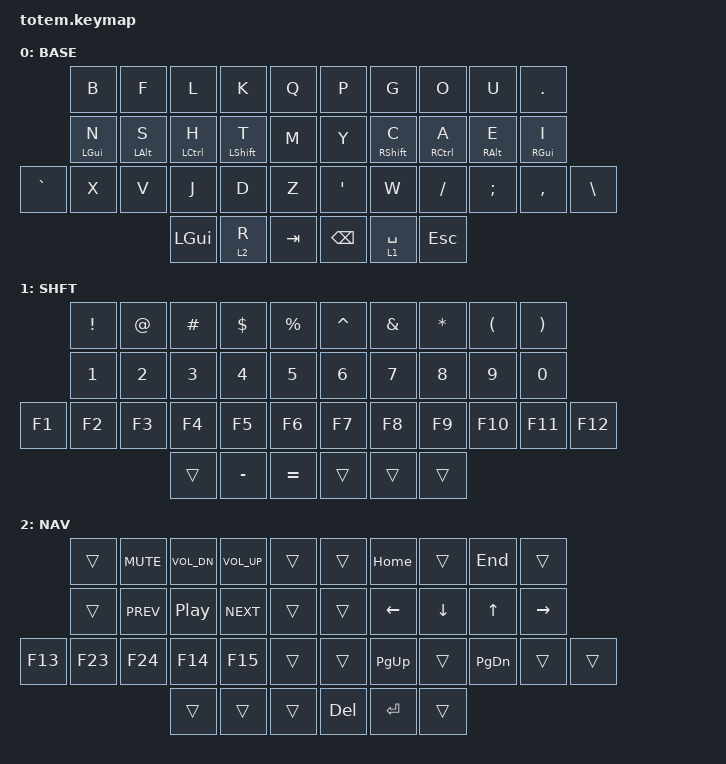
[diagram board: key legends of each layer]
//
//                                                        ▀▀▀▀▀     ▀▀▀▀▀          ▀▀█▀▀
//                                                        ▄▀▀▀▄  ▄  ▄▀▀▀▄  ▄  ▄▀▀▀▄  █  ▄▀▀▀▄
//                                                        █   █  █  █   █  █  █   █  █  █   █
//                                                         ▀▀▀   █   ▀▀▀   █   ▀▀▀   ▀   ▀▀▀
//                                                               █      ▄▄▄█▄▄▄    █   █  
//                                                               ▀      █  █  █     █▄█
//                                                             ▀▀▀▀▀    █  █  █      ▀
//                                                                      ▀  ▀  ▀
//
// ▄▄▄▄▄▄▄▄▄▄▄▄▄▄▄▄▄▄▄▄▄▄▄▄▄▄▄▄▄▄▄▄▄▄▄▄▄▄▄▄▄▄▄▄▄▄▄▄▄▄▄▄▄▄▄▄▄▄▄▄▄▄▄▄▄▄▄▄▄▄▄▄▄▄▄▄▄▄▄▄▄▄▄▄▄▄▄▄▄▄▄▄▄▄▄▄▄▄▄▄▄▄▄▄▄▄▄▄▄▄▄▄▄▄▄▄▄▄▄▄▄▄▄▄▄▄▄▄▄▄▄▄▄▄▄▄▄▄▄▄▄▄▄▄▄▄▄▄▄

#include <behaviors.dtsi>
#include <dt-bindings/zmk/keys.h>

#define BASE 0
#define NAV  1
#define SYM  2
#define ADJ  3

/ {
    behaviors {
        hml: home_row_mod_left {
            compatible = "zmk,behavior-hold-tap";
            #binding-cells = <2>;
            flavor = "balanced";
            require-prior-idle-ms = <150>;
            tapping-term-ms = <280>;
            quick-tap-ms = <175>;
            bindings = <&kp>, <&kp>;

            hold-trigger-key-positions = <32 33 34 35 36 37 26 5 6 7 8 9 15 16 17 18 28 5 6 8 9 15 16 17 18 19 26 27 28 29 30 31 36 37>;
            hold-trigger-on-release;
        };

        hmr: home_row_mod_right {
            compatible = "zmk,behavior-hold-tap";
            #binding-cells = <2>;
            flavor = "balanced";
            require-prior-idle-ms = <150>;
            tapping-term-ms = <280>;
            quick-tap-ms = <175>;
            bindings = <&kp>, <&kp>;

            hold-trigger-key-positions = <0 1 2 3 4 10 11 12 13 14 20 21 22 23 24 25 32 33 34 35 36 37>;
            hold-trigger-on-release;
        };
    };

    combos { compatible = "zmk,combos"; };

    keymap {
        compatible = "zmk,keymap";

        // ▄▄▄▄▄▄▄▄▄▄▄▄▄▄▄▄▄▄▄▄▄▄▄▄▄▄▄▄▄▄▄▄▄▄▄▄▄▄▄▄▄▄▄▄▄▄▄▄▄▄▄▄▄▄▄▄▄▄▄▄▄▄▄▄▄▄▄▄▄▄▄▄▄▄▄▄▄▄▄▄▄▄▄▄▄▄▄▄▄▄▄▄▄▄▄▄▄▄▄▄▄▄▄▄▄▄▄▄▄▄▄▄▄▄▄▄▄▄▄▄▄▄▄▄▄▄▄▄▄▄▄▄▄▄▄▄▄▄▄▄▄▄▄▄▄▄▄▄▄

        base_layer {
            // ┏━━━━━━━━━━━━━━━━━━━━━━━━━━━━━━━━━━━━━━━┓

            display-name = "BASE";

            // ┗━━━━━━━━━━━━━━━━━━━━━━━━━━━━━━━━━━━━━━━┛
            //             ┏━━━━━━━━━━━┳━━━━━━━━━━━┳━━━━━━━━━━━┳━━━━━━━━━━━┳━━━━━━━━━━━┓   ┏━━━━━━━━━━━┳━━━━━━━━━━━┳━━━━━━━━━━━┳━━━━━━━━━━━┳━━━━━━━━━━━┓
            //             ┃     Q     ┃     W     ┃     F     ┃     P     ┃     G     ┃   ┃     J     ┃     L     ┃     U     ┃     Y     ┃     ;     ┃
            //             ┣━━━━━━━━━━━╋━━━━━━━━━━━╋━━━━━━━━━━━╋━━━━━━━━━━━╋━━━━━━━━━━━┫   ┣━━━━━━━━━━━╋━━━━━━━━━━━╋━━━━━━━━━━━╋━━━━━━━━━━━╋━━━━━━━━━━━┫
            //             ┃     A     ┃     R     ┃     S     ┃     T     ┃     D     ┃   ┃     H     ┃     N     ┃     E     ┃     I     ┃     O     ┃
            // ┏━━━━━━━━━━━╋━━━━━━━━━━━╋━━━━━━━━━━━╋━━━━━━━━━━━╋━━━━━━━━━━━╋━━━━━━━━━━━┫   ┣━━━━━━━━━━━╋━━━━━━━━━━━╋━━━━━━━━━━━╋━━━━━━━━━━━╋━━━━━━━━━━━╋━━━━━━━━━━━┓
            // ┃           ┃     Z     ┃     X     ┃     C     ┃     V     ┃     B     ┃   ┃     K     ┃     M     ┃     ,     ┃     .     ┃     /     ┃           ┃
            // ┗━━━━━━━━━━━┻━━━━━━━━━━━┻━━━━━━━━━━━╋━━━━━━━━━━━╋━━━━━━━━━━━╋━━━━━━━━━━━┫   ┣━━━━━━━━━━━╋━━━━━━━━━━━╋━━━━━━━━━━━╋━━━━━━━━━━━┻━━━━━━━━━━━┻━━━━━━━━━━━┛
            //                                     ┃           ┃    TAB    ┃    SPC    ┃   ┃   ENTER   ┃   BSPC    ┃           ┃
            //                                     ┗━━━━━━━━━━━┻━━━━━━━━━━━┻━━━━━━━━━━━┛   ┗━━━━━━━━━━━┻━━━━━━━━━━━┻━━━━━━━━━━━┛

            bindings = <
           &kp B        &kp F            &kp L         &kp K         &kp Q      &kp P     &kp G          &kp O         &kp U        &kp PERIOD
           &hml LGUI N  &hml LEFT_ALT S  &hml LCTRL H  &hml LSHFT T  &kp M      &kp Y     &hmr RSHIFT C  &hmr RCTRL A  &hmr RALT E  &hmr RGUI I
&kp GRAVE  &kp X        &kp V            &kp J         &kp D         &kp Z      &kp SQT   &kp W          &kp SLASH     &kp SEMI     &kp COMMA    &kp BSLH
                                         &kp LGUI      &lt 2 R       &kp TAB    &kp BSPC  &lt 1 SPACE    &kp ESCAPE
            >;
        };

        // ▄▄▄▄▄▄▄▄▄▄▄▄▄▄▄▄▄▄▄▄▄▄▄▄▄▄▄▄▄▄▄▄▄▄▄▄▄▄▄▄▄▄▄▄▄▄▄▄▄▄▄▄▄▄▄▄▄▄▄▄▄▄▄▄▄▄▄▄▄▄▄▄▄▄▄▄▄▄▄▄▄▄▄▄▄▄▄▄▄▄▄▄▄▄▄▄▄▄▄▄▄▄▄▄▄▄▄▄▄▄▄▄▄▄▄▄▄▄▄▄▄▄▄▄▄▄▄▄▄▄▄▄▄▄▄▄▄▄▄▄▄▄▄▄▄▄▄▄▄

        shift_layer {
            // ┏━━━━━━━━━━━━━━━━━━━━━━━━━━━━━━━━━━━━━━━┓

            display-name = "SHFT";

            // ┗━━━━━━━━━━━━━━━━━━━━━━━━━━━━━━━━━━━━━━━┛
            //             ┏━━━━━━━━━━━┳━━━━━━━━━━━┳━━━━━━━━━━━┳━━━━━━━━━━━┳━━━━━━━━━━━┓   ┏━━━━━━━━━━━┳━━━━━━━━━━━┳━━━━━━━━━━━┳━━━━━━━━━━━┳━━━━━━━━━━━┓
            //             ┃           ┃           ┃     UP    ┃           ┃     {     ┃   ┃     }     ┃     7     ┃     8     ┃     9     ┃     +     ┃
            //             ┣━━━━━━━━━━━╋━━━━━━━━━━━╋━━━━━━━━━━━╋━━━━━━━━━━━╋━━━━━━━━━━━┫   ┣━━━━━━━━━━━╋━━━━━━━━━━━╋━━━━━━━━━━━╋━━━━━━━━━━━╋━━━━━━━━━━━┫
            //             ┃   SHIFT   ┃   LEFT    ┃    DOWN   ┃   RIGHT   ┃     [     ┃   ┃     ]     ┃     4     ┃     5     ┃     6     ┃     -     ┃
            // ┏━━━━━━━━━━━╋━━━━━━━━━━━╋━━━━━━━━━━━╋━━━━━━━━━━━╋━━━━━━━━━━━╋━━━━━━━━━━━┫   ┣━━━━━━━━━━━╋━━━━━━━━━━━╋━━━━━━━━━━━╋━━━━━━━━━━━╋━━━━━━━━━━━╋━━━━━━━━━━━┓
            // ┃           ┃           ┃   P UP    ┃  C LOCK   ┃  P DOWN   ┃     (     ┃   ┃     )     ┃     1     ┃     2     ┃     3     ┃     *     ┃           ┃
            // ┗━━━━━━━━━━━┻━━━━━━━━━━━┻━━━━━━━━━━━╋━━━━━━━━━━━╋━━━━━━━━━━━╋━━━━━━━━━━━┫   ┣━━━━━━━━━━━╋━━━━━━━━━━━╋━━━━━━━━━━━╋━━━━━━━━━━━┻━━━━━━━━━━━┻━━━━━━━━━━━┛
            //                                     ┃           ┃    TAB    ┃    SPC    ┃   ┃    DEL    ┃     0     ┃           ┃
            //                                     ┗━━━━━━━━━━━┻━━━━━━━━━━━┻━━━━━━━━━━━┛   ┗━━━━━━━━━━━┻━━━━━━━━━━━┻━━━━━━━━━━━┛

            bindings = <
        &kp EXCL  &kp AT  &kp HASH  &kp DLLR   &kp PRCNT    &kp CARET  &kp AMPS  &kp STAR  &kp LPAR  &kp RPAR
        &kp N1    &kp N2  &kp N3    &kp N4     &kp N5       &kp N6     &kp N7    &kp N8    &kp N9    &kp N0
&kp F1  &kp F2    &kp F3  &kp F4    &kp F5     &kp F6       &kp F7     &kp F8    &kp F9    &kp F10   &kp F11   &kp F12
                          &trans    &kp MINUS  &kp EQUAL    &trans     &trans    &trans
            >;
        };

        // ▄▄▄▄▄▄▄▄▄▄▄▄▄▄▄▄▄▄▄▄▄▄▄▄▄▄▄▄▄▄▄▄▄▄▄▄▄▄▄▄▄▄▄▄▄▄▄▄▄▄▄▄▄▄▄▄▄▄▄▄▄▄▄▄▄▄▄▄▄▄▄▄▄▄▄▄▄▄▄▄▄▄▄▄▄▄▄▄▄▄▄▄▄▄▄▄▄▄▄▄▄▄▄▄▄▄▄▄▄▄▄▄▄▄▄▄▄▄▄▄▄▄▄▄▄▄▄▄▄▄▄▄▄▄▄▄▄▄▄▄▄▄▄▄▄▄▄▄▄

        nav_layer {
            // ┏━━━━━━━━━━━━━━━━━━━━━━━━━━━━━━━━━━━━━━━┓

            display-name = "NAV";

            // ┗━━━━━━━━━━━━━━━━━━━━━━━━━━━━━━━━━━━━━━━┛
            //             ┏━━━━━━━━━━━┳━━━━━━━━━━━┳━━━━━━━━━━━┳━━━━━━━━━━━┳━━━━━━━━━━━┓   ┏━━━━━━━━━━━┳━━━━━━━━━━━┳━━━━━━━━━━━┳━━━━━━━━━━━┳━━━━━━━━━━━┓
            //             ┃     !     ┃     @     ┃     #     ┃     $     ┃     %     ┃   ┃     ˆ     ┃     &     ┃     Ü     ┃     '     ┃     "     ┃
            //             ┣━━━━━━━━━━━╋━━━━━━━━━━━╋━━━━━━━━━━━╋━━━━━━━━━━━╋━━━━━━━━━━━┫   ┣━━━━━━━━━━━╋━━━━━━━━━━━╋━━━━━━━━━━━╋━━━━━━━━━━━╋━━━━━━━━━━━┫
            //             ┃     Ä     ┃           ┃    SZ     ┃           ┃           ┃   ┃   MUTE    ┃   YEN     ┃   EURO    ┃  POUND    ┃     Ö     ┃
            // ┏━━━━━━━━━━━╋━━━━━━━━━━━╋━━━━━━━━━━━╋━━━━━━━━━━━╋━━━━━━━━━━━╋━━━━━━━━━━━┫   ┣━━━━━━━━━━━╋━━━━━━━━━━━╋━━━━━━━━━━━╋━━━━━━━━━━━╋━━━━━━━━━━━╋━━━━━━━━━━━┓
            // ┃           ┃  EMAIL1   ┃  EMAIL2   ┃           ┃           ┃           ┃   ┃   VOL-    ┃   VOL+    ┃   LAST    ┃   NEXT    ┃     \     ┃           ┃
            // ┗━━━━━━━━━━━┻━━━━━━━━━━━┻━━━━━━━━━━━╋━━━━━━━━━━━╋━━━━━━━━━━━╋━━━━━━━━━━━┫   ┣━━━━━━━━━━━╋━━━━━━━━━━━╋━━━━━━━━━━━╋━━━━━━━━━━━┻━━━━━━━━━━━┻━━━━━━━━━━━┛
            //                                     ┃           ┃    GIF    ┃    ADJ    ┃   ┃           ┃           ┃           ┃
            //                                     ┗━━━━━━━━━━━┻━━━━━━━━━━━┻━━━━━━━━━━━┛   ┗━━━━━━━━━━━┻━━━━━━━━━━━┻━━━━━━━━━━━┛

            bindings = <
         &trans   &kp C_MUTE  &kp C_VOL_DN      &kp C_VOL_UP  &trans    &trans   &kp HOME   &trans    &kp END    &trans
         &trans   &kp C_PREV  &kp C_PLAY_PAUSE  &kp C_NEXT    &trans    &trans   &kp LEFT   &kp DOWN  &kp UP     &kp RIGHT
&kp F13  &kp F23  &kp F24     &kp F14           &kp F15       &trans    &trans   &kp PG_UP  &trans    &kp PG_DN  &trans     &trans
                              &trans            &trans        &trans    &kp DEL  &kp ENTER  &trans
            >;
        };

        // ▄▄▄▄▄▄▄▄▄▄▄▄▄▄▄▄▄▄▄▄▄▄▄▄▄▄▄▄▄▄▄▄▄▄▄▄▄▄▄▄▄▄▄▄▄▄▄▄▄▄▄▄▄▄▄▄▄▄▄▄▄▄▄▄▄▄▄▄▄▄▄▄▄▄▄▄▄▄▄▄▄▄▄▄▄▄▄▄▄▄▄▄▄▄▄▄▄▄▄▄▄▄▄▄▄▄▄▄▄▄▄▄▄▄▄▄▄▄▄▄▄▄▄▄▄▄▄▄▄▄▄▄▄▄▄▄▄▄▄▄▄▄▄▄▄▄▄▄▄
    };
};
